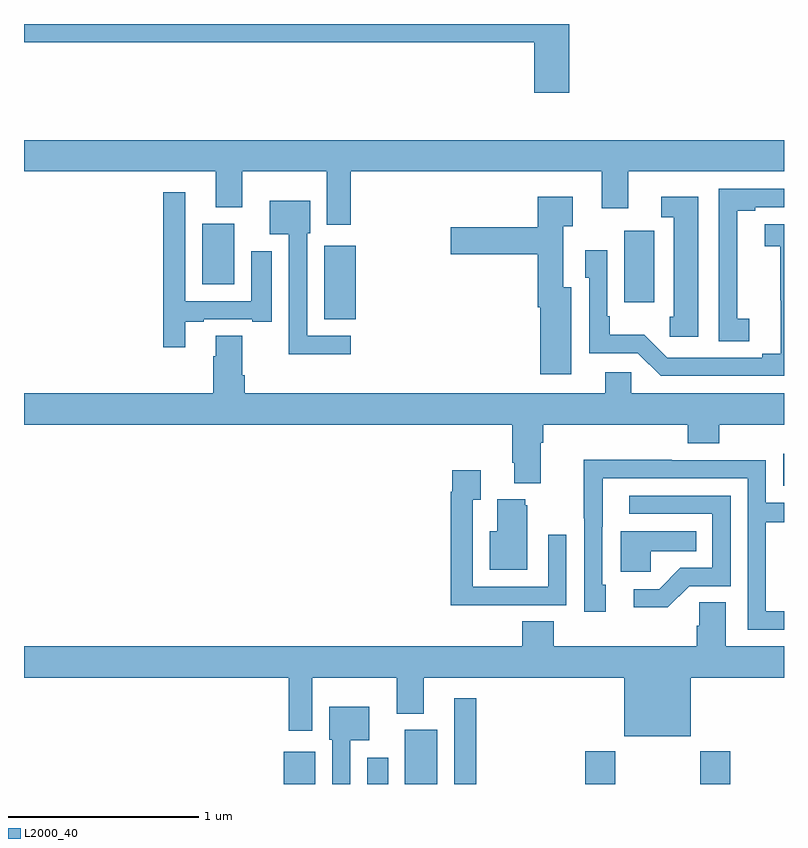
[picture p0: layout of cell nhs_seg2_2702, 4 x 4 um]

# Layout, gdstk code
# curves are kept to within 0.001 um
import gdstk
lib = gdstk.Library(unit=1e-6, precision=1e-09)
def R(c, l, rs):  # rectangles x0, y0, x1, y1
    for r in rs: c.add(gdstk.rectangle(r[:2], r[2:], *l))
def P(c, l, *ps):  # polygons
    for p in ps: c.add(gdstk.Polygon(p, *l))
L2000_40 = (2000, 40)

nhs_seg2_2702 = lib.new_cell('nhs_seg2_2702')
R(nhs_seg2_2702, L2000_40, [(254.366,589.8,254.533,589.969), (254.807,589.8,254.917,589.939), (255.005,589.8,255.175,590.086), (255.264,589.8,255.38,590.251), (255.953,589.8,256.113,589.972), (256.558,589.8,256.718,589.972), (256.995,591.369,257,591.538), (254.579,592.247,254.746,592.633), (253.937,592.43,254.107,592.75)])
P(nhs_seg2_2702, L2000_40, [(255.869,593.8),(253,593.8),(253,593.704),(255.686,593.704),(255.686,593.439),(255.869,593.439)],
  [(254.72,593.024),(256.04,593.024),(256.04,592.83),(256.18,592.83),(256.18,593.024),(257,593.024),(257,593.188),(253,593.188),(253,593.024),(254.009,593.024),(254.009,592.835),(254.149,592.835),(254.149,593.024),(254.594,593.024),(254.594,592.743),(254.72,592.743)],
  [(256.816,592.249),(256.755,592.249),(256.755,592.553),(256.753,592.553),(256.753,592.816),(256.849,592.816),(256.849,592.836),(257,592.836),(257,592.932),(256.656,592.932),(256.656,592.129),(256.816,592.129)],
  [(253.849,592.233),(253.945,592.233),(253.945,592.245),(254.201,592.245),(254.201,592.233),(254.305,592.233),(254.305,592.603),(254.195,592.603),(254.195,592.341),(253.848,592.341),(253.848,592.915),(253.732,592.915),(253.732,592.098),(253.849,592.098)],
  [(255.88,592.414),(255.838,592.414),(255.838,592.735),(255.889,592.735),(255.889,592.891),(255.704,592.891),(255.704,592.731),(255.246,592.731),(255.246,592.589),(255.704,592.589),(255.704,592.31),(255.716,592.31),(255.716,591.957),(255.88,591.957)],
  [(256.549,592.891),(256.353,592.891),(256.353,592.783),(256.421,592.783),(256.421,592.26),(256.399,592.26),(256.399,592.155),(256.549,592.155)],
  [(254.719,592.158),(254.49,592.158),(254.49,592.698),(254.506,592.698),(254.506,592.87),(254.294,592.87),(254.294,592.694),(254.394,592.694),(254.394,592.061),(254.719,592.061)],
  [(257,592.745),(256.899,592.745),(256.899,592.63),(256.981,592.63),(256.982,592.064),(256.886,592.064),(256.886,592.044),(256.386,592.044),(256.265,592.165),(256.084,592.165),(256.084,592.261),(256.071,592.261),(256.071,592.609),(255.954,592.609),(255.954,592.464),(255.975,592.464),(255.975,592.068),(256.23,592.068),(256.35,591.948),(257,591.948)],
  [(256.318,592.598),(256.316,592.598),(256.316,592.711),(256.16,592.711),(256.16,592.335),(256.318,592.335)],
  [(255.721,591.596),(255.734,591.596),(255.734,591.692),(256.493,591.692),(256.493,591.593),(256.658,591.593),(256.658,591.692),(257,591.692),(257,591.856),(256.197,591.856),(256.197,591.966),(256.058,591.966),(256.058,591.856),(254.162,591.856),(254.162,591.952),(254.149,591.952),(254.149,592.16),(254.009,592.16),(254.009,592.052),(253.997,592.052),(253.997,591.856),(253,591.856),(253,591.692),(255.569,591.692),(255.569,591.49),(255.581,591.49),(255.581,591.383),(255.721,591.383)],
  [(257,590.709),(256.905,590.709),(256.905,591.178),(257,591.178),(257,591.279),(256.905,591.279),(256.905,591.504),(256.409,591.504),(256.409,591.506),(255.946,591.506),(255.946,591.199),(255.948,591.199),(255.948,590.706),(256.063,590.706),(256.063,590.85),(256.044,590.85),(256.044,591.154),(256.045,591.154),(256.045,591.408),(256.809,591.408),(256.809,590.613),(257,590.613)],
  [(255.539,590.742),(255.855,590.742),(255.855,591.112),(255.759,591.112),(255.759,590.838),(255.363,590.838),(255.363,591.295),(255.403,591.295),(255.403,591.451),(255.255,591.451),(255.255,591.338),(255.247,591.338),(255.247,590.741),(255.539,590.741)],
  [(256.5,590.841),(256.719,590.841),(256.719,591.318),(256.185,591.318),(256.185,591.222),(256.623,591.222),(256.623,590.937),(256.454,590.937),(256.343,590.826),(256.209,590.826),(256.209,590.729),(256.387,590.729)],
  [(255.649,591.267),(255.638,591.267),(255.638,591.298),(255.491,591.298),(255.491,591.13),(255.452,591.13),(255.452,590.927),(255.649,590.927)],
  [(256.299,591.026),(256.538,591.026),(256.538,591.13),(256.142,591.13),(256.142,590.918),(256.299,590.918)],
  [(256.51,590.36),(257,590.36),(257,590.524),(256.693,590.524),(256.693,590.756),(256.554,590.756),(256.554,590.633),(256.541,590.633),(256.541,590.524),(255.788,590.524),(255.788,590.657),(255.623,590.657),(255.623,590.524),(253,590.524),(253,590.36),(254.393,590.36),(254.393,590.079),(254.518,590.079),(254.518,590.36),(254.963,590.36),(254.963,590.171),(255.103,590.171),(255.103,590.36),(256.16,590.36),(256.16,590.051),(256.51,590.051)],
  [(254.718,590.03),(254.818,590.03),(254.818,590.206),(254.606,590.206),(254.606,590.034),(254.622,590.034),(254.622,589.8),(254.718,589.8)])

lib.write_gds('nhs_seg2_2702.gds')
